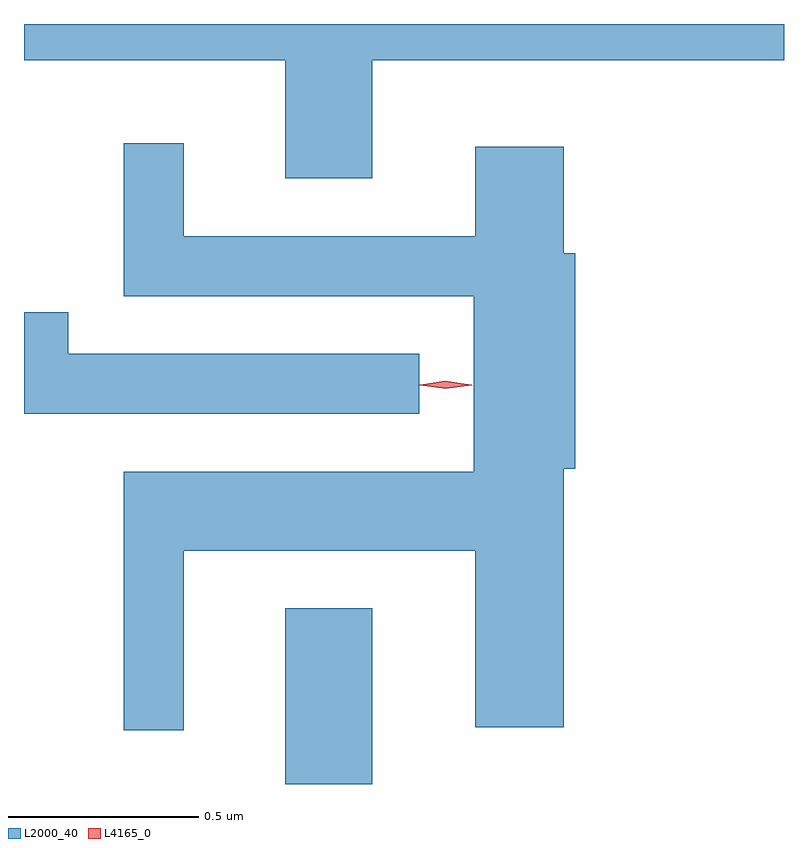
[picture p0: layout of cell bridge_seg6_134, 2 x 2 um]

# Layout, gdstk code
import gdstk
lib = gdstk.Library(unit=1e-6, precision=1e-09)
def R(c, l, rs):  # rectangles x0, y0, x1, y1
    for r in rs: c.add(gdstk.rectangle(r[:2], r[2:], *l))
def P(c, l, *ps):  # polygons
    for p in ps: c.add(gdstk.Polygon(p, *l))
L2000_40 = (2000, 40)
L4165_0 = (4165, 0)

bridge_seg6_134 = lib.new_cell('bridge_seg6_134')
R(bridge_seg6_134, L2000_40, [(1166.401,1616.952,1166.629,1617.414)])
P(bridge_seg6_134, L2000_40, [(1166.629,1618.856),(1167.713,1618.856),(1167.713,1618.952),(1165.713,1618.952),(1165.713,1618.856),(1166.401,1618.856),(1166.401,1618.546),(1166.629,1618.546)],
  [(1166.134,1617.566),(1166.901,1617.566),(1166.901,1617.101),(1167.134,1617.101),(1167.134,1617.781),(1167.164,1617.781),(1167.164,1618.349),(1167.134,1618.349),(1167.134,1618.629),(1166.901,1618.629),(1166.901,1618.394),(1166.134,1618.394),(1166.134,1618.638),(1165.976,1618.638),(1165.976,1618.236),(1166.896,1618.236),(1166.896,1617.774),(1165.976,1617.774),(1165.976,1617.093),(1166.134,1617.093)],
  [(1166.753,1618.084),(1165.829,1618.084),(1165.829,1618.194),(1165.713,1618.194),(1165.713,1617.926),(1166.753,1617.926)])
P(bridge_seg6_134, L4165_0, [(1166.823,1617.992),(1166.754,1618.002),(1166.754,1618.002),(1166.754,1618.003),(1166.823,1618.012),(1166.891,1618.003),(1166.892,1618.002),(1166.891,1618.002)],
  [(1166.822,1617.993),(1166.757,1618.002),(1166.757,1618.003),(1166.757,1618.003),(1166.822,1618.013),(1166.887,1618.003),(1166.887,1618.003),(1166.887,1618.002)])

lib.write_gds('bridge_seg6_134.gds')
